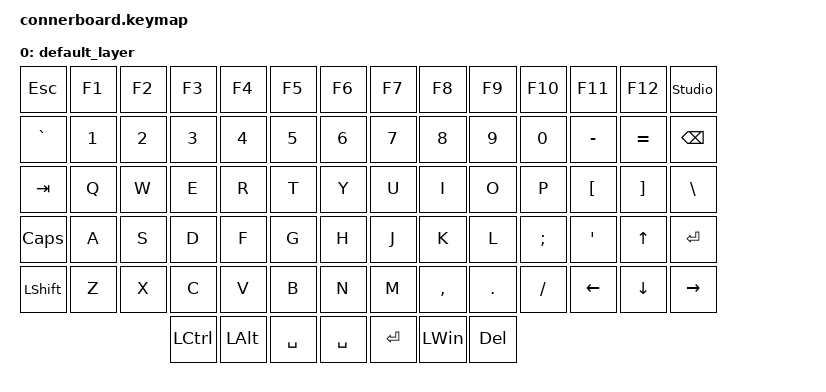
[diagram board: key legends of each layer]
#include <behaviors.dtsi>
#include <dt-bindings/zmk/keys.h>

/ {
    keymap {
        compatible = "zmk,keymap";

        default_layer {
            bindings = <
                &kp ESC   &kp F1    &kp F2    &kp F3    &kp F4    &kp F5    &kp F6    &kp F7    &kp F8     &kp F9    &kp F10   &kp F11   &kp F12   &studio_unlock
                &kp GRAVE &kp N1    &kp N2    &kp N3    &kp N4    &kp N5    &kp N6    &kp N7    &kp N8     &kp N9    &kp N0    &kp MINUS &kp EQUAL &kp BSPC
                &kp TAB   &kp Q     &kp W     &kp E     &kp R     &kp T     &kp Y     &kp U     &kp I      &kp O     &kp P     &kp LBKT  &kp RBKT  &kp BSLH
                &kp CAPS  &kp A     &kp S     &kp D     &kp F     &kp G     &kp H     &kp J     &kp K      &kp L     &kp SEMI  &kp APOS  &kp UP    &kp RET
                &kp LSHFT &kp Z     &kp X     &kp C     &kp V     &kp B     &kp N     &kp M     &kp COMMA  &kp DOT   &kp SLASH &kp LEFT  &kp DOWN  &kp RIGHT
                                              &kp LCTRL &kp LALT  &kp SPACE &kp SPACE &kp RET   &kp LWIN   &kp DEL
            >;
        };
    };
};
